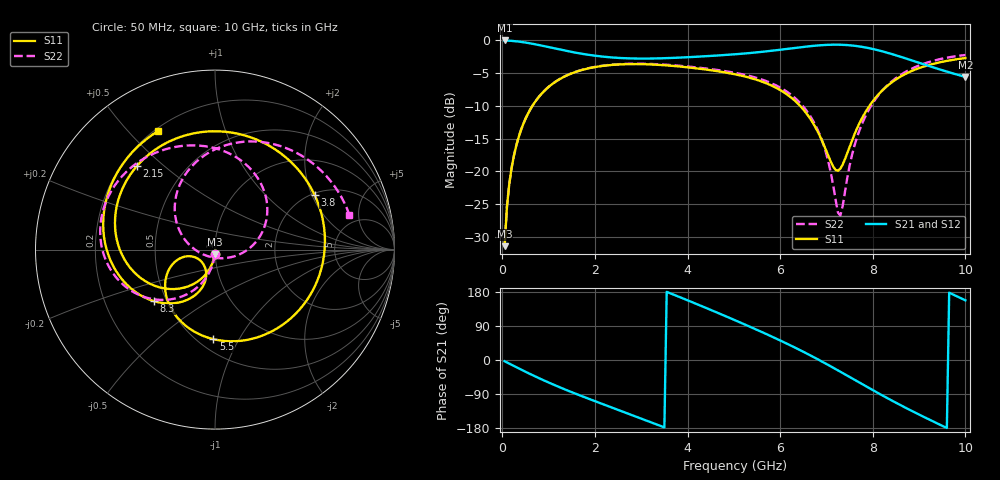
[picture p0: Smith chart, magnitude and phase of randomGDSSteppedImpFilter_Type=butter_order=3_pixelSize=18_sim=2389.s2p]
! freq	dB(S11)	phase(S11)	dB(S12)	phase(S12)
!  dB(S21)	phase(S21)	dB(S22)	phase(S22)
!S-par simulation data
#  GHz  S  DB  R 50
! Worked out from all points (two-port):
!   200 points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, 50 MHz to 10 GHz, reference 50 ohm
!   highest |S21| = -0.01 dB at 50 MHz (marker M1); lowest = -5.6 dB at 10 GHz (marker M2)
!   |S21| within 3 dB of the highest: start of sweep to 8.822 GHz
!   lowest |S11| = -31.5 dB at 50 MHz (marker M3), VSWR 1.05, Z = 49.8 - j2.66 ohm
!   |S11| at or under -10 dB: start of sweep to 651.6 MHz; 6.429 GHz to 7.93 GHz (1.501 GHz wide, 20.9 % of centre)
!   |S22| runs from -31.5 to -2.2 dB; largest |S21 - S12| = 0
!   S11 on the Smith chart (normalised r, x): 50 MHz: 1.00, -0.05; 2.15 GHz: 0.26, +0.41; 3.8 GHz: 2.06, +2.10; 5.5 GHz: 0.59, -0.79; 8.3 GHz: 0.43, -0.31; 10 GHz: 0.21, +0.61
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0.05  -31.46 -93.7  -0.01 -3.2  -0.01 -3.2  -31.46 -92.8
0.1  -25.47 -97.4  -0.02 -6.4  -0.02 -6.4  -25.46 -95.7
0.2  -19.54 -104.7  -0.07 -12.6  -0.07 -12.6  -19.53 -101.4
0.5  -12.01 -125.7  -0.33 -31.0  -0.33 -31.0  -11.99 -117.3
1.05  -6.83 -161.7  -1.10 -62.1  -1.10 -62.1  -6.81 -143.5
1.75  -4.46 156.3  -2.08 -96.9  -2.08 -96.9  -4.44 -171.3
2.15  -3.91 133.1  -2.46 -115.4  -2.46 -115.4  -3.88 175.0
2.8  -3.62 94.3  -2.76 -145.1  -2.76 -145.1  -3.56 154.8
3.4  -3.75 56.0  -2.74 -173.1  -2.74 -173.1  -3.66 137.5
3.8  -3.97 28.8  -2.64 167.5  -2.64 167.5  -3.86 126.3
4.4  -4.45 -13.7  -2.42 137.4  -2.42 137.4  -4.30 109.4
5.05  -5.22 -60.0  -2.11 103.7  -2.11 103.7  -4.99 89.4
5.5  -6.04 -91.1  -1.83 79.6  -1.83 79.6  -5.75 73.4
6.1  -8.02 -130.3  -1.34 45.8  -1.34 45.8  -7.63 47.7
6.7  -12.53 -162.7  -0.84 9.2  -0.84 9.2  -12.16 13.6
7  -16.94 -164.9  -0.69 -10.5  -0.69 -10.5  -17.45 -12.5
7.3  -19.61 -127.4  -0.66 -31.0  -0.66 -31.0  -26.78 -109.5
7.7  -12.85 -109.1  -0.91 -58.8  -0.91 -58.8  -13.98 156.8
8.3  -7.03 -139.8  -1.86 -99.7  -1.86 -99.7  -6.97 111.9
8.35  -6.74 -142.9  -1.96 -103.0  -1.96 -103.0  -6.64 108.7
9.2  -3.78 163.9  -3.88 -156.0  -3.88 -156.0  -3.34 58.1
10  -2.70 115.5  -5.57 157.4  -5.57 157.4  -2.23 14.6
